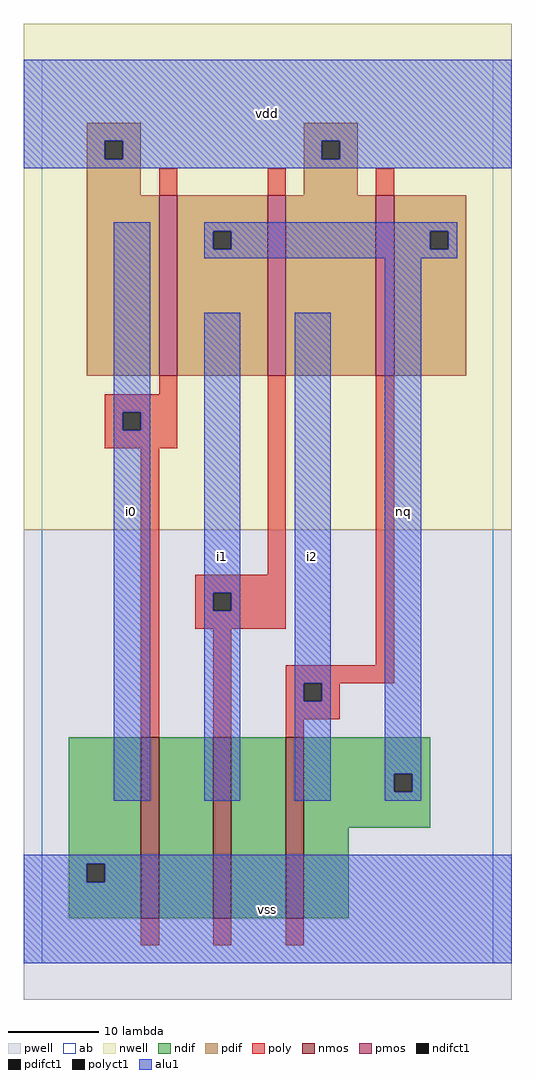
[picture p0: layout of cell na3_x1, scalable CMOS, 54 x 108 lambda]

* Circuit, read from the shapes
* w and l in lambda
.subckt na3_x1 i0 i1 i2 nq vdd vss
M1 n1 i0 vss VSUBS nfet w=20 l=2
M2 n2 i1 n1 VSUBS nfet w=20 l=2
M3 nq i2 n2 VSUBS nfet w=20 l=2
M4 nq i0 vdd n3 pfet w=20 l=2
M5 vdd i1 nq n3 pfet w=20 l=2
M6 nq i2 vdd n3 pfet w=20 l=2
.ends

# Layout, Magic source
magic
tech scmos
<< ab >>
rect 0 0 50 100
<< nwell >>
rect -2 48 52 104
<< pwell >>
rect -2 -4 52 48
<< poly >>
rect 13 85 15 88
rect 25 85 27 88
rect 37 85 39 88
rect 13 63 15 65
rect 7 61 15 63
rect 7 59 9 61
rect 11 59 15 61
rect 7 57 15 59
rect 11 25 13 57
rect 25 43 27 65
rect 17 41 27 43
rect 17 39 19 41
rect 21 39 27 41
rect 17 37 27 39
rect 19 25 21 37
rect 37 33 39 65
rect 27 31 39 33
rect 27 29 29 31
rect 31 29 33 31
rect 27 27 33 29
rect 27 25 29 27
rect 11 2 13 5
rect 19 2 21 5
rect 27 2 29 5
<< ndif >>
rect 3 11 11 25
rect 3 9 5 11
rect 7 9 11 11
rect 3 5 11 9
rect 13 5 19 25
rect 21 5 27 25
rect 29 21 43 25
rect 29 19 39 21
rect 41 19 43 21
rect 29 15 43 19
rect 29 5 34 15
<< pdif >>
rect 5 91 11 93
rect 5 89 7 91
rect 9 89 11 91
rect 5 85 11 89
rect 29 91 35 93
rect 29 89 31 91
rect 33 89 35 91
rect 29 85 35 89
rect 5 65 13 85
rect 15 81 25 85
rect 15 79 19 81
rect 21 79 25 81
rect 15 65 25 79
rect 27 65 37 85
rect 39 81 47 85
rect 39 79 43 81
rect 45 79 47 81
rect 39 65 47 79
<< alu1 >>
rect -2 91 52 100
rect -2 89 7 91
rect 9 89 31 91
rect 33 89 52 91
rect -2 88 52 89
rect 8 61 12 82
rect 18 81 46 82
rect 18 79 19 81
rect 21 79 43 81
rect 45 79 46 81
rect 18 78 46 79
rect 8 59 9 61
rect 11 59 12 61
rect 8 18 12 59
rect 18 41 22 72
rect 18 39 19 41
rect 21 39 22 41
rect 18 18 22 39
rect 28 31 32 72
rect 28 29 29 31
rect 31 29 32 31
rect 28 18 32 29
rect 38 21 42 78
rect 38 19 39 21
rect 41 19 42 21
rect 38 18 42 19
rect -2 11 52 12
rect -2 9 5 11
rect 7 9 52 11
rect -2 0 52 9
<< nmos >>
rect 11 5 13 25
rect 19 5 21 25
rect 27 5 29 25
<< pmos >>
rect 13 65 15 85
rect 25 65 27 85
rect 37 65 39 85
<< polyct1 >>
rect 9 59 11 61
rect 19 39 21 41
rect 29 29 31 31
<< ndifct1 >>
rect 5 9 7 11
rect 39 19 41 21
<< pdifct1 >>
rect 7 89 9 91
rect 31 89 33 91
rect 19 79 21 81
rect 43 79 45 81
<< labels >>
rlabel alu1 20 45 20 45 6 i1
rlabel alu1 10 50 10 50 6 i0
rlabel alu1 25 6 25 6 6 vss
rlabel alu1 30 45 30 45 6 i2
rlabel alu1 25 94 25 94 6 vdd
rlabel alu1 40 50 40 50 6 nq
<< end >>
